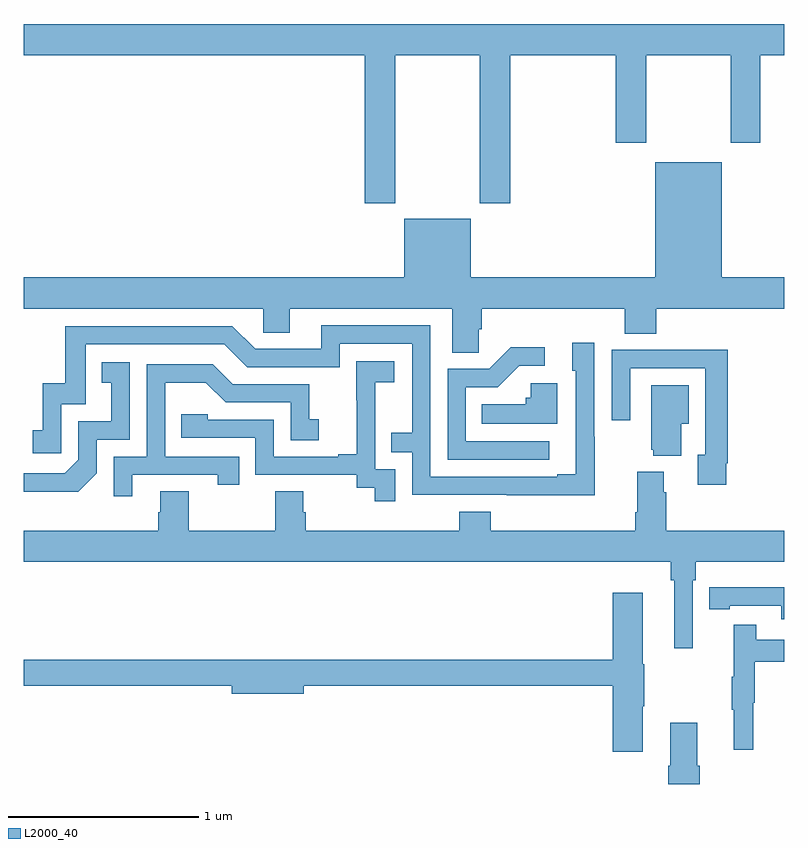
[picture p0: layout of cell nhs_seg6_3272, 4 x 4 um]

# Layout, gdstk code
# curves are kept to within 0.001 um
import gdstk
lib = gdstk.Library(unit=1e-6, precision=1e-09)
def P(c, l, *ps):  # polygons
    for p in ps: c.add(gdstk.Polygon(p, *l))
L2000_40 = (2000, 40)

nhs_seg6_3272 = lib.new_cell('nhs_seg6_3272')
P(nhs_seg6_3272, L2000_40, [(304.953,951.332),(305.398,951.332),(305.398,950.553),(305.558,950.553),(305.558,951.332),(306.113,951.332),(306.113,950.871),(306.273,950.871),(306.273,951.332),(306.718,951.332),(306.718,950.871),(306.873,950.871),(306.873,951.332),(307,951.332),(307,951.496),(303,951.496),(303,951.332),(304.793,951.332),(304.793,950.553),(304.953,950.553)],
  [(305.394,949.891),(305.408,949.891),(305.408,950),(306.161,950),(306.161,949.867),(306.326,949.867),(306.326,950),(307,950),(307,950.164),(306.67,950.164),(306.67,950.77),(306.32,950.77),(306.32,950.164),(305.35,950.164),(305.35,950.473),(305,950.473),(305,950.164),(303,950.164),(303,950),(304.26,950),(304.26,949.873),(304.399,949.873),(304.399,950),(305.255,950),(305.255,949.768),(305.394,949.768)],
  [(306.003,949.325),(306,949.325),(306,949.819),(305.885,949.819),(305.885,949.674),(305.904,949.674),(305.904,949.129),(305.807,949.129),(305.807,949.116),(305.139,949.116),(305.139,949.911),(304.565,949.911),(304.565,949.788),(304.218,949.788),(304.098,949.908),(303.219,949.908),(303.219,949.606),(303.101,949.606),(303.101,949.359),(303.048,949.359),(303.048,949.239),(303.198,949.239),(303.198,949.497),(303.327,949.497),(303.327,949.812),(304.056,949.812),(304.176,949.692),(304.662,949.692),(304.662,949.815),(305.043,949.815),(305.043,949.346),(304.933,949.346),(304.933,949.245),(305.043,949.245),(305.043,949.02),(306.003,949.019)],
  [(305.764,949.302),(305.325,949.302),(305.325,949.587),(305.494,949.587),(305.605,949.698),(305.74,949.698),(305.74,949.796),(305.561,949.796),(305.448,949.683),(305.229,949.683),(305.229,949.206),(305.764,949.206)],
  [(306.694,949.186),(306.701,949.186),(306.701,949.784),(306.409,949.784),(306.409,949.782),(306.093,949.782),(306.093,949.413),(306.189,949.413),(306.189,949.686),(306.585,949.686),(306.585,949.23),(306.545,949.23),(306.545,949.074),(306.694,949.074)],
  [(304.953,949.155),(304.848,949.155),(304.848,949.385),(304.85,949.385),(304.85,949.613),(304.948,949.613),(304.948,949.723),(304.75,949.723),(304.75,949.517),(304.751,949.517),(304.751,949.234),(304.655,949.234),(304.655,949.221),(304.314,949.221),(304.314,949.416),(303.969,949.416),(303.969,949.443),(303.829,949.443),(303.829,949.32),(304.218,949.32),(304.218,949.125),(304.752,949.125),(304.752,949.057),(304.845,949.057),(304.845,948.987),(304.953,948.987)],
  [(303.384,949.134),(303.384,949.311),(303.558,949.311),(303.558,949.717),(303.412,949.717),(303.412,949.611),(303.461,949.611),(303.461,949.407),(303.288,949.407),(303.288,949.206),(303.216,949.134),(303,949.134),(303,949.037),(303.286,949.037)],
  [(303.571,949.125),(304.022,949.125),(304.022,949.074),(304.133,949.074),(304.133,949.221),(303.744,949.221),(303.744,949.61),(303.958,949.61),(304.062,949.506),(304.404,949.506),(304.404,949.308),(304.552,949.308),(304.552,949.417),(304.503,949.417),(304.503,949.602),(304.099,949.602),(303.994,949.707),(303.648,949.707),(303.648,949.221),(303.474,949.221),(303.474,949.014),(303.571,949.014)],
  [(305.806,949.606),(305.667,949.606),(305.667,949.53),(305.641,949.53),(305.641,949.498),(305.41,949.498),(305.41,949.394),(305.806,949.394)],
  [(306.457,949.394),(306.496,949.394),(306.496,949.597),(306.299,949.597),(306.299,949.257),(306.311,949.257),(306.311,949.226),(306.457,949.226)],
  [(306.519,948.572),(306.533,948.572),(306.533,948.668),(307,948.668),(307,948.832),(306.38,948.832),(306.38,949.034),(306.367,949.034),(306.367,949.141),(306.227,949.141),(306.227,948.928),(306.215,948.928),(306.215,948.832),(305.456,948.832),(305.456,948.931),(305.291,948.931),(305.291,948.832),(304.484,948.832),(304.484,948.93),(304.471,948.93),(304.471,949.04),(304.324,949.04),(304.324,948.832),(303.867,948.832),(303.867,949.04),(303.719,949.04),(303.719,948.93),(303.707,948.93),(303.707,948.832),(303,948.832),(303,948.668),(306.403,948.668),(306.403,948.572),(306.422,948.572),(306.422,948.213),(306.519,948.213)],
  [(307,948.535),(306.712,948.535),(306.712,948.534),(306.604,948.534),(306.604,948.418),(306.712,948.418),(306.712,948.438),(306.984,948.438),(306.984,948.366),(307,948.366)],
  [(306.256,947.908),(306.264,947.908),(306.264,948.129),(306.256,948.129),(306.256,948.505),(306.098,948.505),(306.098,948.152),(303,948.152),(303,948.016),(304.094,948.016),(304.094,947.974),(304.474,947.974),(304.474,948.016),(306.098,948.016),(306.098,947.67),(306.256,947.67)],
  [(306.836,947.928),(306.844,947.928),(306.844,948.142),(307,948.142),(307,948.258),(306.851,948.258),(306.851,948.337),(306.734,948.337),(306.734,948.065),(306.723,948.065),(306.723,947.891),(306.734,947.891),(306.734,947.679),(306.836,947.679)],
  [(306.554,947.596),(306.541,947.596),(306.541,947.821),(306.401,947.821),(306.401,947.596),(306.389,947.596),(306.389,947.5),(306.554,947.5)])

lib.write_gds('nhs_seg6_3272.gds')
